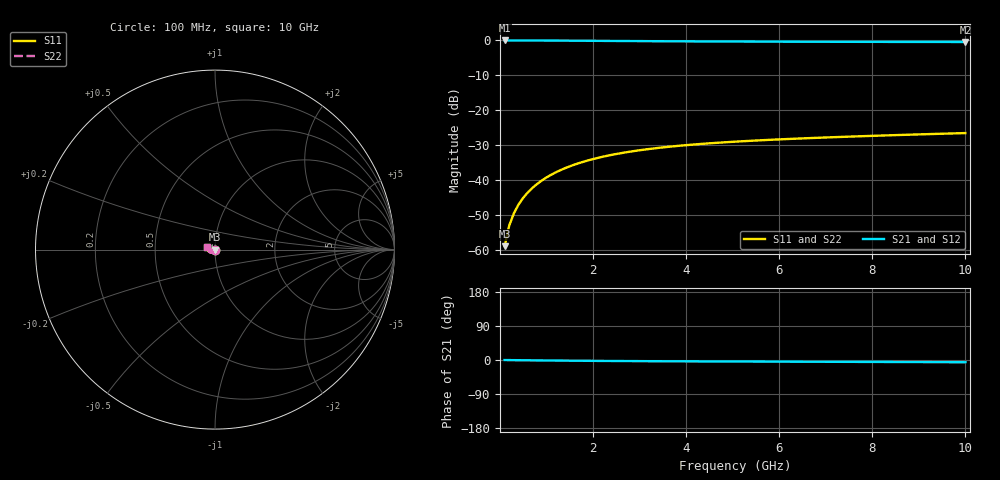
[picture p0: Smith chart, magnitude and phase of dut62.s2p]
! Touchstone file exported from HFSS 2024.1.0
!  File:  C:/UserFiles/LocalFiles/RDL_TSV_Batchsim/temp_TSV1_62_1779373059.aedt
!  Generated:  10:23:03 PM May 21, 2026
!  Design:  TSV1
!  Project:  temp_TSV1_62_1779373059
!  Setup:  Setup1
!  Solution:  Sweep
! Variables:
!  dtsv = 8.61um
!  hbump = 3um
!  htsv = 91.45um
!  lrdl = 252.1521522um
!  p = 40
!  p1 = 52.31um
!  t = 500um
!  trdl = 3um
!  wrdl = 24.89489489um
# GHz S MA R 50.000000
! Terminal data exported
! Port[1] = TSV22_T1
! Port[2] = TSV22_T2
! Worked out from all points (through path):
!   100 points, 100 MHz to 10 GHz, reference 50 ohm
!   highest |S21| = 0.00 dB at 100 MHz (marker M1); lowest = -0.4 dB at 10 GHz (marker M2)
!   lowest |S11| = -58.8 dB at 100 MHz (marker M3), VSWR 1.00, Z = 50 - j0.113 ohm
!   |S11| at or under -10 dB: start of sweep to end of sweep
!   |S22| runs from -58.8 to -26.5 dB; largest |S21 - S12| = 7.2e-15
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0.1  0.001146 -81.3  0.9997 -0.1  0.9997 -0.1  0.001146 -81.3
! Gamma 0 0 0 0
! Port Impedance 50 0 50 0
0.2  0.002268 -88.3  0.9996 -0.3  0.9996 -0.3  0.002268 -88.3
0.3  0.003396 -92.0  0.9994 -0.4  0.9994 -0.4  0.003396 -92.0
0.4  0.00452 -94.8  0.9991 -0.5  0.9991 -0.5  0.00452 -94.8
0.5  0.005635 -97.3  0.9988 -0.7  0.9988 -0.7  0.005635 -97.3
0.6  0.006739 -99.6  0.9984 -0.8  0.9984 -0.8  0.006739 -99.6
0.7  0.00783 -101.8  0.9979 -0.9  0.9979 -0.9  0.00783 -101.8
0.8  0.008904 -103.9  0.9973 -1.0  0.9973 -1.0  0.008905 -103.9
0.9  0.009962 -105.9  0.9967 -1.1  0.9967 -1.1  0.009962 -105.9
1.1  0.01202 -109.8  0.9954 -1.4  0.9954 -1.4  0.01202 -109.8
1.4  0.01495 -115.4  0.993 -1.7  0.993 -1.7  0.01495 -115.4
1.6  0.01678 -119.0  0.9913 -1.9  0.9913 -1.9  0.01678 -119.0
1.8  0.01851 -122.4  0.9896 -2.1  0.9896 -2.1  0.01851 -122.4
2.1  0.02093 -127.2  0.9868 -2.3  0.9868 -2.3  0.02093 -127.2
2.5  0.02382 -133.3  0.9831 -2.7  0.9831 -2.7  0.02382 -133.3
2.9  0.02636 -138.9  0.9796 -2.9  0.9796 -2.9  0.02636 -138.9
3.4  0.0291 -145.3  0.9755 -3.2  0.9755 -3.2  0.0291 -145.3
4.2  0.03268 -154.3  0.9698 -3.6  0.9698 -3.6  0.03268 -154.3
5.1  0.03588 -163.0  0.9647 -4.0  0.9647 -4.0  0.03588 -163.0
6.7  0.0403 -175.7  0.9582 -4.6  0.9582 -4.6  0.0403 -175.7
8.4  0.04413 173.4  0.9536 -5.3  0.9536 -5.3  0.04413 173.4
10  0.04743 164.9  0.9507 -5.9  0.9507 -5.9  0.04743 164.9
